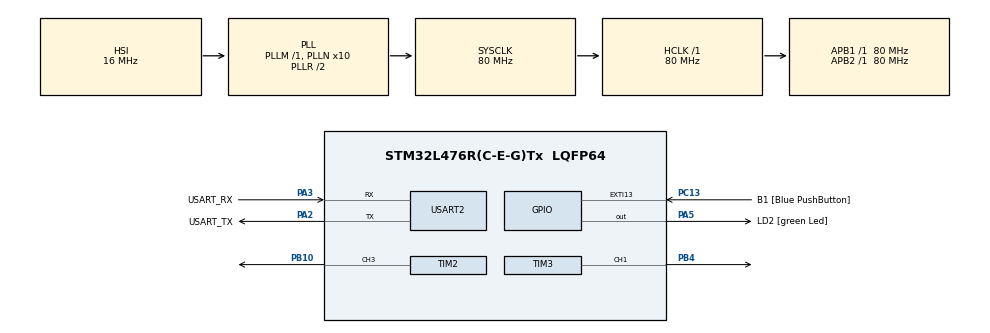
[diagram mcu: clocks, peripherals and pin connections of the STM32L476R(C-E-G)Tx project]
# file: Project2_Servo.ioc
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Mcu.Family=STM32L4
Mcu.Name=STM32L476R(C-E-G)Tx
Mcu.Package=LQFP64
NVIC.PriorityGroup=NVIC_PRIORITYGROUP_4
NVIC.TIM6_DAC_IRQn=true\:0\:0\:false\:false\:true\:true\:true\:true
PA13\ (JTMS-SWDIO).GPIO_Label=TMS
PA13\ (JTMS-SWDIO).Mode=Serial_Wire
PA13\ (JTMS-SWDIO).Signal=SYS_JTMS-SWDIO
PA14\ (JTCK-SWCLK).GPIO_Label=TCK
PA14\ (JTCK-SWCLK).Mode=Serial_Wire
PA14\ (JTCK-SWCLK).Signal=SYS_JTCK-SWCLK
PA2.GPIO_Label=USART_TX
PA2.GPIO_Mode=GPIO_MODE_AF_PP
PA2.GPIO_PuPd=GPIO_NOPULL
PA2.GPIO_Speed=GPIO_SPEED_FREQ_VERY_HIGH
PA2.Mode=Asynchronous
PA2.Signal=USART2_TX
PA3.GPIO_Label=USART_RX
PA3.GPIO_Mode=GPIO_MODE_AF_PP
PA3.GPIO_PuPd=GPIO_NOPULL
PA3.GPIO_Speed=GPIO_SPEED_FREQ_VERY_HIGH
PA3.Mode=Asynchronous
PA3.Signal=USART2_RX
PA5.GPIO_Label=LD2 [green Led]
PA5.GPIO_ModeDefaultOutputPP=GPIO_MODE_OUTPUT_PP
PA5.GPIO_PuPd=GPIO_NOPULL
PA5.GPIO_Speed=GPIO_SPEED_FREQ_LOW
PA5.Signal=GPIO_Output
PB10.Signal=S_TIM2_CH3
PB3\ (JTDO-TRACESWO).GPIO_Label=SWO
PB3\ (JTDO-TRACESWO).Signal=SYS_JTDO-SWO
PB4\ (NJTRST).Signal=S_TIM3_CH1
PC13.GPIO_Label=B1 [Blue PushButton]
PC13.GPIO_ModeDefaultEXTI=GPIO_MODE_IT_FALLING
PC13.GPIO_PuPd=GPIO_NOPULL
PC13.Signal=GPXTI13
PC14-OSC32_IN\ (PC14).Mode=LSE-External-Oscillator
PC14-OSC32_IN\ (PC14).Signal=RCC_OSC32_IN
PC15-OSC32_OUT\ (PC15).Mode=LSE-External-Oscillator
PC15-OSC32_OUT\ (PC15).Signal=RCC_OSC32_OUT
PH0-OSC_IN\ (PH0).Signal=RCC_OSC_IN
PH1-OSC_OUT\ (PH1).Signal=RCC_OSC_OUT
ProjectManager.HeapSize=0x200
ProjectManager.StackSize=0x400
ProjectManager.TargetToolchain=STM32CubeIDE
RCC.ADCFreq_Value=64000000
RCC.AHBFreq_Value=80000000
RCC.APB1Freq_Value=80000000
RCC.APB1TimFreq_Value=80000000
RCC.APB2Freq_Value=80000000
RCC.APB2TimFreq_Value=80000000
RCC.CortexFreq_Value=80000000
RCC.HCLKFreq_Value=80000000
RCC.HSE_VALUE=8000000
RCC.HSI_VALUE=16000000
RCC.MSI_VALUE=4000000
RCC.PLLN=10
RCC.PLLSourceVirtual=RCC_PLLSOURCE_HSI
RCC.PREFETCH_ENABLE=1
RCC.SYSCLKFreq_VALUE=80000000
RCC.SYSCLKSource=RCC_SYSCLKSOURCE_PLLCLK
RCC.USBFreq_Value=64000000
RCC.VCOOutputFreq_Value=160000000
SH.S_TIM2_CH3.0=TIM2_CH3,PWM Generation3 CH3
SH.S_TIM3_CH1.0=TIM3_CH1,PWM Generation1 CH1
TIM2.AutoReloadPreload=TIM_AUTORELOAD_PRELOAD_ENABLE
TIM2.Channel-PWM\ Generation3\ CH3=TIM_CHANNEL_3
TIM2.Period=1000
TIM2.Prescaler=1599
TIM3.AutoReloadPreload=TIM_AUTORELOAD_PRELOAD_ENABLE
TIM3.Channel-PWM\ Generation1\ CH1=TIM_CHANNEL_1
TIM3.Period=1000
TIM3.Prescaler=1599
TIM6.Period=1000
TIM6.Prescaler=7999
USART2.VirtualMode-Asynchronous=VM_ASYNC
VP_TIM2_VS_ClockSourceINT.Mode=Internal
VP_TIM3_VS_ClockSourceINT.Mode=Internal
VP_TIM5_VS_ClockSourceINT.Mode=Internal
VP_TIM6_VS_ClockSourceINT.Mode=Enable_Timer
board=NUCLEO-L476RG

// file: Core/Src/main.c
/* USER CODE BEGIN Header */
/**
 ******************************************************************************
 * @file           : main.c
 * @brief          : Main program body
 ******************************************************************************
 * @attention
 *
 * Copyright (c) 2024 STMicroelectronics.
 * All rights reserved.
 *
 * This software is licensed under terms that can be found in the LICENSE file
 * in the root directory of this software component.
 * If no LICENSE file comes with this software, it is provided AS-IS.
 *
 ******************************************************************************
 */
/* USER CODE END Header */
#include "main.h"

/* USER CODE BEGIN Includes */
#include <stdio.h>
#include <string.h>
#include <stdlib.h>
#include "state_machine.h"
#include <stdbool.h>

/* USER CODE END Includes */

/* USER CODE BEGIN PD */
#define 	BUF_SIZE (256)

/* USER CODE END PD */

TIM_HandleTypeDef htim2;
TIM_HandleTypeDef htim3;
TIM_HandleTypeDef htim5;
TIM_HandleTypeDef htim6;

UART_HandleTypeDef huart2;

void SystemClock_Config(void);
static void MX_GPIO_Init(void);
static void MX_USART2_UART_Init(void);
static void MX_TIM2_Init(void);
static void MX_TIM3_Init(void);
static void MX_TIM6_Init(void);
static void MX_TIM5_Init(void);
/* USER CODE BEGIN PFP */
void cmd_generate_event(char cmd, int servo);

/* USER CODE END PFP */

/* USER CODE BEGIN 0 */
enum status current_status = status_paused;
enum events main_events = recipe_begin;
bool timer_running = true;

/* USER CODE END 0 */

int main(void) {
	/* USER CODE BEGIN 1 */
	uint8_t Buffer[256] = { 0 };
	int index = 0;
	int user_input = 0;

	/* USER CODE END 1 */

	/* MCU Configuration--------------------------------------------------------*/

	/* Reset of all peripherals, Initializes the Flash interface and the Systick. */
	HAL_Init();

	/* Configure the system clock */
	SystemClock_Config();

	/* Initialize all configured peripherals */
	MX_GPIO_Init();
	MX_USART2_UART_Init();
	MX_TIM2_Init();
	MX_TIM3_Init();
	MX_TIM6_Init();
	MX_TIM5_Init();
	/* USER CODE BEGIN 2 */
	HAL_TIM_PWM_Start(&htim3, TIM_CHANNEL_1);
	HAL_TIM_PWM_Start(&htim2, TIM_CHANNEL_3);
	HAL_TIM_Base_Start_IT(&htim6);
	MOVE_MOTOR1_POS1()
	MOVE_MOTOR2_POS1()

	/* USER CODE END 2 */

	/* Infinite loop */
	while (1) {

		/* USER CODE BEGIN 3 */
		//Check if there is data available to recieve
		if ((USART2->ISR & UART_FLAG_RXNE)) {
			uint8_t Rx = USART2->RDR;
			Buffer[index] = Rx;
			index++;
			HAL_UART_Transmit(&huart2, &Rx, sizeof(uint8_t), 100);
			if (Rx == '\n' || Rx == '\r') {
				Buffer[index] = '\n';
				index = 0;
				user_input = 1;
			}
		}
		if (user_input == 1) {
			uint8_t Rx = '\r';
			HAL_UART_Transmit(&huart2, &Rx, sizeof(uint8_t), 100);
			Rx = '\n';
			HAL_UART_Transmit(&huart2, &Rx, sizeof(uint8_t), 100);
			//Interpret user command, process events based on it
			char cmd1 = Buffer[0];
			char cmd2 = Buffer[1];
			cmd_generate_event(cmd1, 1);
			cmd_generate_event(cmd2, 2);
			user_input = 0;
		}
		//Go to the state machine and check servos
		state_machine();

		//Wait for overflow to occur and the timer reset
		while (timer_running == true) {
		}
		timer_running = true;
	}
	/* USER CODE END 3 */
}

void SystemClock_Config(void) {
	RCC_OscInitTypeDef RCC_OscInitStruct = { 0 };
	RCC_ClkInitTypeDef RCC_ClkInitStruct = { 0 };

	/** Configure the main internal regulator output voltage
	 */
	if (HAL_PWREx_ControlVoltageScaling(PWR_REGULATOR_VOLTAGE_SCALE1)
			!= HAL_OK) {
		Error_Handler();
	}

	/** Initializes the RCC Oscillators according to the specified parameters
	 * in the RCC_OscInitTypeDef structure.
	 */
	RCC_OscInitStruct.OscillatorType = RCC_OSCILLATORTYPE_HSI;
	RCC_OscInitStruct.HSIState = RCC_HSI_ON;
	RCC_OscInitStruct.HSICalibrationValue = RCC_HSICALIBRATION_DEFAULT;
	RCC_OscInitStruct.PLL.PLLState = RCC_PLL_ON;
	RCC_OscInitStruct.PLL.PLLSource = RCC_PLLSOURCE_HSI;
	RCC_OscInitStruct.PLL.PLLM = 1;
	RCC_OscInitStruct.PLL.PLLN = 10;
	RCC_OscInitStruct.PLL.PLLP = RCC_PLLP_DIV7;
	RCC_OscInitStruct.PLL.PLLQ = RCC_PLLQ_DIV2;
	RCC_OscInitStruct.PLL.PLLR = RCC_PLLR_DIV2;
	if (HAL_RCC_OscConfig(&RCC_OscInitStruct) != HAL_OK) {
		Error_Handler();
	}

	/** Initializes the CPU, AHB and APB buses clocks
	 */
	RCC_ClkInitStruct.ClockType = RCC_CLOCKTYPE_HCLK | RCC_CLOCKTYPE_SYSCLK
			| RCC_CLOCKTYPE_PCLK1 | RCC_CLOCKTYPE_PCLK2;
	RCC_ClkInitStruct.SYSCLKSource = RCC_SYSCLKSOURCE_PLLCLK;
	RCC_ClkInitStruct.AHBCLKDivider = RCC_SYSCLK_DIV1;
	RCC_ClkInitStruct.APB1CLKDivider = RCC_HCLK_DIV1;
	RCC_ClkInitStruct.APB2CLKDivider = RCC_HCLK_DIV1;

	if (HAL_RCC_ClockConfig(&RCC_ClkInitStruct, FLASH_LATENCY_4) != HAL_OK) {
		Error_Handler();
	}
}

static void MX_TIM2_Init(void) {

	TIM_ClockConfigTypeDef sClockSourceConfig = { 0 };
	TIM_MasterConfigTypeDef sMasterConfig = { 0 };
	TIM_OC_InitTypeDef sConfigOC = { 0 };

	htim2.Instance = TIM2;
	htim2.Init.Prescaler = 1599;
	htim2.Init.CounterMode = TIM_COUNTERMODE_UP;
	htim2.Init.Period = 1000;
	htim2.Init.ClockDivision = TIM_CLOCKDIVISION_DIV1;
	htim2.Init.AutoReloadPreload = TIM_AUTORELOAD_PRELOAD_ENABLE;
	if (HAL_TIM_Base_Init(&htim2) != HAL_OK) {
		Error_Handler();
	}
	sClockSourceConfig.ClockSource = TIM_CLOCKSOURCE_INTERNAL;
	if (HAL_TIM_ConfigClockSource(&htim2, &sClockSourceConfig) != HAL_OK) {
		Error_Handler();
	}
	if (HAL_TIM_PWM_Init(&htim2) != HAL_OK) {
		Error_Handler();
	}
	sMasterConfig.MasterOutputTrigger = TIM_TRGO_RESET;
	sMasterConfig.MasterSlaveMode = TIM_MASTERSLAVEMODE_DISABLE;
	if (HAL_TIMEx_MasterConfigSynchronization(&htim2, &sMasterConfig)
			!= HAL_OK) {
		Error_Handler();
	}
	sConfigOC.OCMode = TIM_OCMODE_PWM1;
	sConfigOC.Pulse = 0;
	sConfigOC.OCPolarity = TIM_OCPOLARITY_HIGH;
	sConfigOC.OCFastMode = TIM_OCFAST_DISABLE;
	if (HAL_TIM_PWM_ConfigChannel(&htim2, &sConfigOC, TIM_CHANNEL_3)
			!= HAL_OK) {
		Error_Handler();
	}
	HAL_TIM_MspPostInit(&htim2);

}

static void MX_TIM3_Init(void) {

	TIM_ClockConfigTypeDef sClockSourceConfig = { 0 };
	TIM_MasterConfigTypeDef sMasterConfig = { 0 };
	TIM_OC_InitTypeDef sConfigOC = { 0 };

	htim3.Instance = TIM3;
	htim3.Init.Prescaler = 1599;
	htim3.Init.CounterMode = TIM_COUNTERMODE_UP;
	htim3.Init.Period = 1000;
	htim3.Init.ClockDivision = TIM_CLOCKDIVISION_DIV1;
	htim3.Init.AutoReloadPreload = TIM_AUTORELOAD_PRELOAD_ENABLE;
	if (HAL_TIM_Base_Init(&htim3) != HAL_OK) {
		Error_Handler();
	}
	sClockSourceConfig.ClockSource = TIM_CLOCKSOURCE_INTERNAL;
	if (HAL_TIM_ConfigClockSource(&htim3, &sClockSourceConfig) != HAL_OK) {
		Error_Handler();
	}
	if (HAL_TIM_PWM_Init(&htim3) != HAL_OK) {
		Error_Handler();
	}
	sMasterConfig.MasterOutputTrigger = TIM_TRGO_RESET;
	sMasterConfig.MasterSlaveMode = TIM_MASTERSLAVEMODE_DISABLE;
	if (HAL_TIMEx_MasterConfigSynchronization(&htim3, &sMasterConfig)
			!= HAL_OK) {
		Error_Handler();
	}
	sConfigOC.OCMode = TIM_OCMODE_PWM1;
	sConfigOC.Pulse = 0;
	sConfigOC.OCPolarity = TIM_OCPOLARITY_HIGH;
	sConfigOC.OCFastMode = TIM_OCFAST_DISABLE;
	if (HAL_TIM_PWM_ConfigChannel(&htim3, &sConfigOC, TIM_CHANNEL_1)
			!= HAL_OK) {
		Error_Handler();
	}
	HAL_TIM_MspPostInit(&htim3);

}

static void MX_TIM5_Init(void) {

	TIM_ClockConfigTypeDef sClockSourceConfig = { 0 };
	TIM_MasterConfigTypeDef sMasterConfig = { 0 };

	htim5.Instance = TIM5;
	htim5.Init.Prescaler = 0;
	htim5.Init.CounterMode = TIM_COUNTERMODE_UP;
	htim5.Init.Period = 4294967295;
	htim5.Init.ClockDivision = TIM_CLOCKDIVISION_DIV1;
	htim5.Init.AutoReloadPreload = TIM_AUTORELOAD_PRELOAD_DISABLE;
	if (HAL_TIM_Base_Init(&htim5) != HAL_OK) {
		Error_Handler();
	}
	sClockSourceConfig.ClockSource = TIM_CLOCKSOURCE_INTERNAL;
	if (HAL_TIM_ConfigClockSource(&htim5, &sClockSourceConfig) != HAL_OK) {
		Error_Handler();
	}
	sMasterConfig.MasterOutputTrigger = TIM_TRGO_RESET;
	sMasterConfig.MasterSlaveMode = TIM_MASTERSLAVEMODE_DISABLE;
	if (HAL_TIMEx_MasterConfigSynchronization(&htim5, &sMasterConfig)
			!= HAL_OK) {
		Error_Handler();
	}

}

static void MX_TIM6_Init(void) {

	TIM_MasterConfigTypeDef sMasterConfig = { 0 };

	htim6.Instance = TIM6;
	htim6.Init.Prescaler = 7999;
	htim6.Init.CounterMode = TIM_COUNTERMODE_UP;
	htim6.Init.Period = 1000;
	htim6.Init.AutoReloadPreload = TIM_AUTORELOAD_PRELOAD_DISABLE;
	if (HAL_TIM_Base_Init(&htim6) != HAL_OK) {
		Error_Handler();
	}
	sMasterConfig.MasterOutputTrigger = TIM_TRGO_RESET;
	sMasterConfig.MasterSlaveMode = TIM_MASTERSLAVEMODE_DISABLE;
	if (HAL_TIMEx_MasterConfigSynchronization(&htim6, &sMasterConfig)
			!= HAL_OK) {
		Error_Handler();
	}

}

static void MX_USART2_UART_Init(void) {

	huart2.Instance = USART2;
	huart2.Init.BaudRate = 115200;
	huart2.Init.WordLength = UART_WORDLENGTH_8B;
	huart2.Init.StopBits = UART_STOPBITS_1;
	huart2.Init.Parity = UART_PARITY_NONE;
	huart2.Init.Mode = UART_MODE_TX_RX;
	huart2.Init.HwFlowCtl = UART_HWCONTROL_NONE;
	huart2.Init.OverSampling = UART_OVERSAMPLING_16;
	huart2.Init.OneBitSampling = UART_ONE_BIT_SAMPLE_DISABLE;
	huart2.AdvancedInit.AdvFeatureInit = UART_ADVFEATURE_NO_INIT;
	if (HAL_UART_Init(&huart2) != HAL_OK) {
		Error_Handler();
	}

}

static void MX_GPIO_Init(void) {
	GPIO_InitTypeDef GPIO_InitStruct = { 0 };

	/* GPIO Ports Clock Enable */
	__HAL_RCC_GPIOC_CLK_ENABLE();
	__HAL_RCC_GPIOH_CLK_ENABLE();
	__HAL_RCC_GPIOA_CLK_ENABLE();
	__HAL_RCC_GPIOB_CLK_ENABLE();

	/*Configure GPIO pin Output Level */
	HAL_GPIO_WritePin(LD2_GPIO_Port, LD2_Pin, GPIO_PIN_RESET);

	/*Configure GPIO pin : B1_Pin */
	GPIO_InitStruct.Pin = B1_Pin;
	GPIO_InitStruct.Mode = GPIO_MODE_IT_FALLING;
	GPIO_InitStruct.Pull = GPIO_NOPULL;
	HAL_GPIO_Init(B1_GPIO_Port, &GPIO_InitStruct);

	/*Configure GPIO pin : LD2_Pin */
	GPIO_InitStruct.Pin = LD2_Pin;
	GPIO_InitStruct.Mode = GPIO_MODE_OUTPUT_PP;
	GPIO_InitStruct.Pull = GPIO_NOPULL;
	GPIO_InitStruct.Speed = GPIO_SPEED_FREQ_LOW;
	HAL_GPIO_Init(LD2_GPIO_Port, &GPIO_InitStruct);

}

/* USER CODE BEGIN 4 */
void cmd_generate_event(char cmd, int servo) {
	switch (cmd) {
	enum events event;
case ('P'):
case ('p'):
	event = user_entered_Pause;
	process_event(event, servo, &huart2);
	//generate event "Pause"
	;
	break;
case ('C'):
case ('c'):
	event = user_entered_Continue;
	process_event(event, servo, &huart2);
	//generate event "Continue"
	;
	break;
case ('R'):
case ('r'):
	event = user_entered_Right;
	process_event(event, servo, &huart2);
	//generate event "Right"
	;
	break;
case ('L'):
case ('l'):
	event = user_entered_left;
	process_event(event, servo, &huart2);
	//generate event "Left"
	;
	break;
case ('N'):
case ('n'):
	event = user_entered_NOOP;
	process_event(event, servo, &huart2);
	//generate event "NOOP"
	;
	break;
case ('B'):
case ('b'):
	event = user_entered_begin;
	process_event(event, servo, &huart2);
	//generate event "Restart/Begin"
	;
	break;
	//User entered recipe selection
case ('1'):
	event = user_entered_recipe1;
	process_event(event, servo, &huart2);
	break;
case ('2'):
	event = user_entered_recipe2;
	process_event(event, servo, &huart2);
	break;
case ('3'):
	event = user_entered_recipe3;
	process_event(event, servo, &huart2);
	break;
case ('4'):
	event = user_entered_recipe4;
	process_event(event, servo, &huart2);
	break;
case ('5'):
	event = user_entered_recipe5;
	process_event(event, servo, &huart2);
	break;
default:
	event = user_entered_invalid;
	process_event(event, servo, &huart2);
	//handle Wrong input
	;
	break;

	}

}

void Move_Servo(int pos, int servo) {
	if (servo == 1) {
		switch (pos) {
		case (0):
			MOVE_MOTOR1_POS1()
			break;
		case (1):
			MOVE_MOTOR1_POS2()
			break;
		case (2):
			MOVE_MOTOR1_POS3()
			break;
		case (3):
			MOVE_MOTOR1_POS4()
			break;
		case (4):
			MOVE_MOTOR1_POS5()
			break;
		case (5):
			MOVE_MOTOR1_POS6()
			break;
		}
	} else {
		switch (pos) {
		case (0):
			MOVE_MOTOR2_POS1()
			break;
		case (1):
			MOVE_MOTOR2_POS2()
			break;
		case (2):
			MOVE_MOTOR2_POS3()
			break;
		case (3):
			MOVE_MOTOR2_POS4()
			break;
		case (4):
			MOVE_MOTOR2_POS5()
			break;
		case (5):
			MOVE_MOTOR2_POS6()
			break;
		}
	}

}

void HAL_TIM_PeriodElapsedCallback(TIM_HandleTypeDef *htim) {
	timer_running = false;
}

/* USER CODE END 4 */

void Error_Handler(void) {
	__disable_irq();
	while (1) {
	}
}
